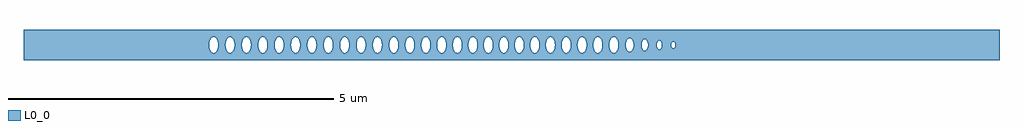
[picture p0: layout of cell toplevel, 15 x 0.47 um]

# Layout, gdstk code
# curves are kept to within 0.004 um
import gdstk
lib = gdstk.Library(unit=1e-6, precision=1e-09)
def P(c, l, *ps):  # polygons
    for p in ps: c.add(gdstk.Polygon(p, *l))
L0_0 = (0, 0)

toplevel = lib.new_cell('toplevel')
P(toplevel, L0_0, [(-4.125,-0.235),(-4.125,-0.085),(-4.144,-0.016),(-4.141,0.038),(-4.125,0.085),(-4.125,0.235),(-7.5,0.235),(-7.5,-0.008),(-4.648,-0.008),(-4.643,0.046),(-4.629,0.085),(-4.611,0.109),(-4.582,0.124),(-4.555,0.118),(-4.532,0.096),(-4.513,0.053),(-4.507,-0.008),(-4.396,-0.008),(-4.394,0.031),(-4.38,0.079),(-4.359,0.109),(-4.33,0.124),(-4.304,0.118),(-4.277,0.09),(-4.26,0.046),(-4.255,0.008),(-4.258,-0.038),(-4.268,-0.073),(-4.295,-0.112),(-4.321,-0.124),(-4.347,-0.118),(-4.374,-0.09),(-4.391,-0.046),(-4.396,-0.008),(-4.507,-0.008),(-4.513,-0.053),(-4.532,-0.096),(-4.555,-0.118),(-4.573,-0.124),(-4.599,-0.118),(-4.622,-0.096),(-4.639,-0.06),(-4.648,-0.008),(-7.5,-0.008),(-7.5,-0.235)],
  [(-3.64,0.016),(-3.632,0.06),(-3.612,0.1),(-3.588,0.12),(-3.557,0.122),(-3.557,0.235),(-4.125,0.235),(-4.125,0.085),(-4.108,0.109),(-4.087,0.122),(-4.061,0.122),(-4.04,0.109),(-4.012,0.06),(-4.004,-0.016),(-3.892,-0.016),(-3.888,0.046),(-3.879,0.073),(-3.856,0.109),(-3.826,0.124),(-3.8,0.118),(-3.777,0.096),(-3.76,0.06),(-3.752,0.016),(-3.756,-0.046),(-3.765,-0.073),(-3.784,-0.105),(-3.809,-0.122),(-3.835,-0.122),(-3.86,-0.105),(-3.882,-0.066),(-3.892,-0.016),(-4.004,-0.016),(-4.022,-0.085),(-4.04,-0.109),(-4.061,-0.122),(-4.096,-0.118),(-4.125,-0.085),(-4.125,-0.235),(-3.557,-0.235),(-3.557,-0.122),(-3.575,-0.124),(-3.592,-0.118),(-3.619,-0.09),(-3.639,-0.031)],
  [(-3.501,-0.023),(-3.511,-0.067),(-3.525,-0.096),(-3.557,-0.122),(-3.557,-0.235),(-3.005,-0.235),(-3.005,-0.061),(-3.033,-0.109),(-3.054,-0.122),(-3.08,-0.122),(-3.101,-0.109),(-3.118,-0.085),(-3.131,-0.053),(-3.137,-0.016),(-3.129,0.06),(-3.112,0.096),(-3.089,0.118),(-3.071,0.124),(-3.045,0.118),(-3.022,0.096),(-3.005,0.06),(-3.005,0.235),(-3.557,0.235),(-3.557,0.122),(-3.536,0.109),(-3.513,0.073),(-3.503,0.038),(-3.5,-0.008),(-3.389,-0.008),(-3.386,0.038),(-3.376,0.073),(-3.349,0.112),(-3.323,0.124),(-3.305,0.122),(-3.281,0.105),(-3.264,0.079),(-3.253,0.046),(-3.248,-0.008),(-3.257,-0.06),(-3.277,-0.1),(-3.305,-0.122),(-3.332,-0.122),(-3.363,-0.096),(-3.38,-0.06),(-3.389,-0.008),(-3.5,-0.008)],
  [(-2.997,-0.016),(-3.005,-0.06),(-3.005,-0.235),(-2.38,-0.235),(-2.38,0.235),(-3.005,0.235),(-3.005,0.06),(-2.996,0),(-2.886,0),(-2.881,0.046),(-2.86,0.096),(-2.837,0.118),(-2.811,0.124),(-2.781,0.109),(-2.764,0.085),(-2.751,0.053),(-2.745,-0.008),(-2.634,-0.008),(-2.625,0.06),(-2.601,0.105),(-2.568,0.124),(-2.55,0.122),(-2.529,0.109),(-2.502,0.06),(-2.493,-0.016),(-2.512,-0.085),(-2.529,-0.109),(-2.55,-0.122),(-2.577,-0.122),(-2.608,-0.096),(-2.625,-0.06),(-2.634,-0.008),(-2.745,-0.008),(-2.751,-0.053),(-2.77,-0.096),(-2.793,-0.118),(-2.811,-0.124),(-2.837,-0.118),(-2.86,-0.096),(-2.881,-0.046),(-2.886,0),(-2.996,0)],
  [(-2.379,0.038),(-2.357,0.096),(-2.333,0.118),(-2.307,0.124),(-2.278,0.109),(-2.26,0.085),(-2.246,0.046),(-2.241,-0.008),(-2.131,-0.008),(-2.126,0.046),(-2.112,0.085),(-2.082,0.118),(-2.056,0.124),(-2.026,0.109),(-2.003,0.073),(-1.993,0.038),(-1.99,-0.016),(-1.998,-0.06),(-2.015,-0.096),(-2.038,-0.118),(-2.056,-0.124),(-2.082,-0.118),(-2.105,-0.096),(-2.122,-0.06),(-2.131,-0.008),(-2.241,-0.008),(-2.246,-0.046),(-2.26,-0.085),(-2.278,-0.109),(-2.307,-0.124),(-2.333,-0.118),(-2.357,-0.096),(-2.38,-0.033),(-2.38,-0.235),(-1.844,-0.235),(-1.844,-0.109),(-1.867,-0.073),(-1.88,-0.016),(-1.872,0.06),(-1.844,0.109),(-1.844,0.235),(-2.38,0.235)],
  [(-1.385,0.023),(-1.373,0.073),(-1.361,0.096),(-1.338,0.118),(-1.303,0.122),(-1.274,0.1),(-1.274,0.235),(-1.844,0.235),(-1.844,0.109),(-1.823,0.122),(-1.806,0.124),(-1.772,0.105),(-1.744,0.046),(-1.74,-0.016),(-1.632,-0.016),(-1.629,0.038),(-1.619,0.073),(-1.596,0.109),(-1.566,0.124),(-1.54,0.118),(-1.513,0.09),(-1.496,0.046),(-1.491,0.008),(-1.493,-0.031),(-1.507,-0.079),(-1.528,-0.109),(-1.557,-0.124),(-1.583,-0.118),(-1.607,-0.096),(-1.619,-0.073),(-1.632,-0.016),(-1.74,-0.016),(-1.75,-0.066),(-1.776,-0.109),(-1.806,-0.124),(-1.823,-0.122),(-1.844,-0.109),(-1.844,-0.235),(-1.274,-0.235),(-1.274,-0.1),(-1.294,-0.118),(-1.311,-0.124),(-1.329,-0.122),(-1.354,-0.105),(-1.38,-0.053)],
  [(-1.274,0.235),(-1.274,0.1),(-1.25,0.046),(-1.246,-0.016),(-1.143,-0.016),(-1.14,0.038),(-1.13,0.073),(-1.107,0.109),(-1.077,0.124),(-1.051,0.118),(-1.024,0.09),(-1.007,0.046),(-1.002,0.008),(-1.004,-0.031),(-1.018,-0.079),(-1.039,-0.109),(-1.068,-0.124),(-1.094,-0.118),(-1.118,-0.096),(-1.13,-0.073),(-1.143,-0.016),(-1.246,-0.016),(-1.254,-0.06),(-1.274,-0.1),(-1.274,-0.235),(-0.762,-0.235),(-0.762,-0.018),(-0.77,-0.06),(-0.787,-0.096),(-0.81,-0.118),(-0.836,-0.124),(-0.854,-0.118),(-0.877,-0.096),(-0.894,-0.06),(-0.902,-0.016),(-0.898,0.046),(-0.889,0.073),(-0.87,0.105),(-0.841,0.123),(-0.81,0.118),(-0.787,0.096),(-0.77,0.06),(-0.762,0.016),(-0.762,0.235)],
  [(-0.187,0.031),(-0.17,0.085),(-0.17,0.235),(-0.762,0.235),(-0.762,-0.008),(-0.664,-0.008),(-0.662,0.031),(-0.648,0.079),(-0.627,0.109),(-0.598,0.124),(-0.567,0.115),(-0.542,0.085),(-0.526,0.038),(-0.523,-0.016),(-0.426,-0.016),(-0.423,0.038),(-0.413,0.073),(-0.39,0.109),(-0.36,0.124),(-0.334,0.118),(-0.304,0.085),(-0.29,0.046),(-0.285,0),(-0.29,-0.046),(-0.304,-0.085),(-0.322,-0.109),(-0.351,-0.124),(-0.378,-0.118),(-0.401,-0.096),(-0.418,-0.06),(-0.426,-0.016),(-0.523,-0.016),(-0.534,-0.067),(-0.548,-0.096),(-0.572,-0.118),(-0.598,-0.124),(-0.627,-0.109),(-0.645,-0.085),(-0.659,-0.046),(-0.664,-0.008),(-0.762,-0.008),(-0.762,-0.235),(-0.17,-0.235),(-0.17,-0.085),(-0.186,-0.038)],
  [(-0.164,0.096),(-0.132,0.122),(-0.114,0.124),(-0.097,0.118),(-0.074,0.096),(-0.059,0.066),(-0.049,0.023),(-0.049,-0.016),(0.049,-0.016),(0.055,0.053),(0.074,0.096),(0.097,0.118),(0.132,0.122),(0.157,0.105),(0.176,0.073),(0.19,0),(0.185,-0.046),(0.17,-0.085),(0.153,-0.109),(0.128,-0.123),(0.097,-0.118),(0.074,-0.096),(0.057,-0.06),(0.049,-0.016),(-0.049,-0.016),(-0.067,-0.085),(-0.085,-0.109),(-0.105,-0.122),(-0.123,-0.124),(-0.14,-0.118),(-0.17,-0.085),(-0.17,-0.235),(0.363,-0.235),(0.363,-0.124),(0.336,-0.118),(0.313,-0.096),(0.296,-0.06),(0.288,-0.016),(0.291,0.038),(0.307,0.085),(0.336,0.118),(0.363,0.124),(0.363,0.235),(-0.17,0.235),(-0.17,0.085)],
  [(0.772,0.016),(0.79,0.085),(0.808,0.109),(0.828,0.122),(0.846,0.124),(0.868,0.115),(0.887,0.096),(0.899,0.073),(0.899,0.235),(0.363,0.235),(0.363,0.124),(0.392,0.109),(0.41,0.085),(0.424,0.046),(0.428,-0.016),(0.529,-0.016),(0.532,0.038),(0.542,0.073),(0.565,0.109),(0.595,0.124),(0.621,0.118),(0.644,0.096),(0.661,0.06),(0.67,0.008),(0.665,-0.046),(0.651,-0.085),(0.633,-0.109),(0.604,-0.124),(0.577,-0.118),(0.554,-0.096),(0.537,-0.06),(0.529,-0.016),(0.428,-0.016),(0.41,-0.085),(0.392,-0.109),(0.363,-0.124),(0.363,-0.235),(0.899,-0.235),(0.899,-0.073),(0.887,-0.096),(0.863,-0.118),(0.846,-0.124),(0.82,-0.118),(0.797,-0.096),(0.782,-0.066),(0.772,-0.023)],
  [(1.502,0),(1.503,0.235),(0.899,0.235),(0.899,0.072),(0.909,0.038),(0.912,-0.008),(1.014,-0.008),(1.016,0.031),(1.03,0.079),(1.051,0.109),(1.08,0.124),(1.106,0.118),(1.13,0.096),(1.152,0.038),(1.155,-0.008),(1.257,-0.008),(1.26,0.038),(1.273,0.079),(1.294,0.109),(1.323,0.124),(1.349,0.118),(1.376,0.09),(1.393,0.046),(1.398,0.008),(1.395,-0.038),(1.385,-0.073),(1.358,-0.112),(1.332,-0.124),(1.306,-0.118),(1.279,-0.09),(1.262,-0.046),(1.257,-0.008),(1.155,-0.008),(1.15,-0.046),(1.13,-0.096),(1.111,-0.115),(1.089,-0.124),(1.063,-0.118),(1.036,-0.09),(1.019,-0.046),(1.014,-0.008),(0.912,-0.008),(0.899,-0.073),(0.899,-0.235),(1.503,-0.235)],
  [(2,0.017),(2.012,0.061),(2.028,0.081),(2.043,0.088),(2.043,0.235),(1.503,0.235),(1.503,0.016),(1.511,0.06),(1.528,0.096),(1.551,0.118),(1.577,0.124),(1.607,0.109),(1.63,0.073),(1.64,0.038),(1.643,-0.013),(1.756,-0.013),(1.757,0.027),(1.769,0.068),(1.79,0.096),(1.816,0.107),(1.838,0.099),(1.858,0.078),(1.871,0.045),(1.877,0.007),(1.874,-0.033),(1.863,-0.068),(1.849,-0.09),(1.827,-0.105),(1.805,-0.105),(1.784,-0.09),(1.767,-0.063),(1.756,-0.013),(1.643,-0.013),(1.635,-0.06),(1.618,-0.096),(1.595,-0.118),(1.577,-0.124),(1.551,-0.118),(1.528,-0.096),(1.511,-0.06),(1.503,-0.018),(1.503,-0.235),(2.043,-0.235),(2.043,-0.088),(2.019,-0.072),(2.006,-0.048)],
  [(2.052,0.089),(2.082,0.069),(2.094,0.043),(2.1,0),(2.231,0),(2.244,0.052),(2.257,0.067),(2.275,0.072),(2.29,0.065),(2.304,0.046),(2.312,-0.01),(2.458,-0.01),(2.465,0.035),(2.485,0.054),(2.498,0.052),(2.51,0.04),(2.519,-0.01),(2.51,-0.04),(2.492,-0.054),(2.472,-0.046),(2.458,-0.01),(2.312,-0.01),(2.307,-0.038),(2.294,-0.061),(2.27,-0.072),(2.244,-0.052),(2.231,0),(2.1,0),(2.094,-0.043),(2.082,-0.069),(2.059,-0.088),(2.043,-0.088),(2.043,-0.235),(7.5,-0.235),(7.5,0.235),(2.043,0.235),(2.043,0.088)])

lib.write_gds('toplevel.gds')
